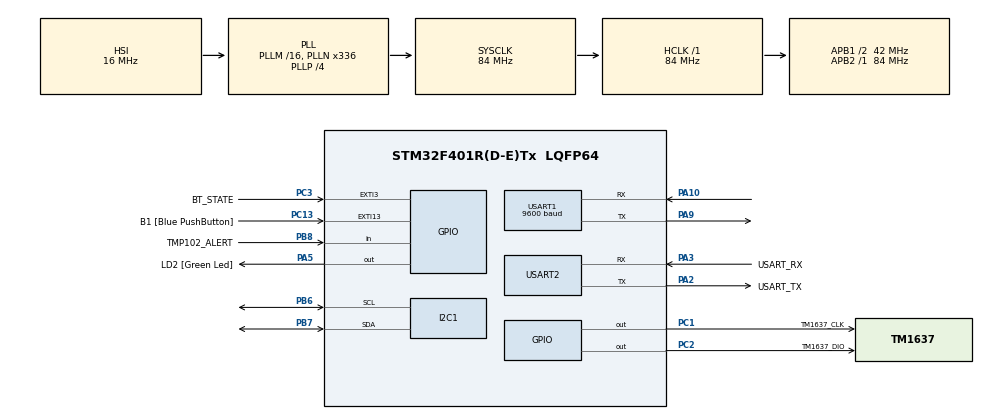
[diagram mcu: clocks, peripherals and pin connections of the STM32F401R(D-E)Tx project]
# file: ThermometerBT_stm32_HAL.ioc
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Dma.Request0=USART1_RX
Dma.USART1_RX.0.Direction=DMA_PERIPH_TO_MEMORY
Dma.USART1_RX.0.FIFOMode=DMA_FIFOMODE_DISABLE
Dma.USART1_RX.0.Instance=DMA2_Stream2
Dma.USART1_RX.0.MemDataAlignment=DMA_MDATAALIGN_BYTE
Dma.USART1_RX.0.MemInc=DMA_MINC_ENABLE
Dma.USART1_RX.0.Mode=DMA_NORMAL
Dma.USART1_RX.0.PeriphDataAlignment=DMA_PDATAALIGN_BYTE
Dma.USART1_RX.0.PeriphInc=DMA_PINC_DISABLE
Dma.USART1_RX.0.Priority=DMA_PRIORITY_LOW
Mcu.Family=STM32F4
Mcu.Name=STM32F401R(D-E)Tx
Mcu.Package=LQFP64
NVIC.DMA2_Stream2_IRQn=true\:0\:0\:false\:true\:true\:3\:false\:true
NVIC.EXTI3_IRQn=true\:0\:0\:false\:true\:true\:1\:true\:true
NVIC.PriorityGroup=NVIC_PRIORITYGROUP_0
NVIC.TIM1_UP_TIM10_IRQn=true\:0\:0\:false\:true\:true\:4\:true\:true
NVIC.USART1_IRQn=true\:0\:0\:false\:true\:true\:2\:true\:true
PA10.Mode=Asynchronous
PA10.Signal=USART1_RX
PA13.GPIO_Label=TMS
PA13.Mode=Serial_Wire
PA13.Signal=SYS_JTMS-SWDIO
PA14.GPIO_Label=TCK
PA14.Mode=Serial_Wire
PA14.Signal=SYS_JTCK-SWCLK
PA2.GPIO_Label=USART_TX
PA2.GPIO_Mode=GPIO_MODE_AF_PP
PA2.GPIO_PuPd=GPIO_NOPULL
PA2.GPIO_Speed=GPIO_SPEED_FREQ_LOW
PA2.Mode=Asynchronous
PA2.Signal=USART2_TX
PA3.GPIO_Label=USART_RX
PA3.GPIO_Mode=GPIO_MODE_AF_PP
PA3.GPIO_PuPd=GPIO_NOPULL
PA3.GPIO_Speed=GPIO_SPEED_FREQ_LOW
PA3.Mode=Asynchronous
PA3.Signal=USART2_RX
PA5.GPIO_Label=LD2 [Green Led]
PA5.GPIO_Mode=GPIO_MODE_OUTPUT_PP
PA5.GPIO_PuPd=GPIO_NOPULL
PA5.GPIO_Speed=GPIO_SPEED_FREQ_LOW
PA5.Signal=GPIO_Output
PA9.Mode=Asynchronous
PA9.Signal=USART1_TX
PB3.GPIO_Label=SWO
PB3.Signal=SYS_JTDO-SWO
PB6.Mode=I2C
PB6.Signal=I2C1_SCL
PB7.Mode=I2C
PB7.Signal=I2C1_SDA
PB8.GPIO_Label=TMP102_ALERT
PB8.Signal=GPIO_Input
PC1.GPIO_Label=TM1637_CLK
PC1.GPIO_PuPd=GPIO_PULLUP
PC1.GPIO_Speed=GPIO_SPEED_FREQ_VERY_HIGH
PC1.Signal=GPIO_Output
PC13-ANTI_TAMP.GPIO_Label=B1 [Blue PushButton]
PC13-ANTI_TAMP.GPIO_ModeDefaultEXTI=GPIO_MODE_IT_FALLING
PC13-ANTI_TAMP.GPIO_PuPd=GPIO_NOPULL
PC13-ANTI_TAMP.Signal=GPXTI13
PC14-OSC32_IN.Mode=LSE-External-Oscillator
PC14-OSC32_IN.Signal=RCC_OSC32_IN
PC15-OSC32_OUT.Mode=LSE-External-Oscillator
PC15-OSC32_OUT.Signal=RCC_OSC32_OUT
PC2.GPIO_Label=TM1637_DIO
PC2.GPIO_PuPd=GPIO_PULLUP
PC2.GPIO_Speed=GPIO_SPEED_FREQ_VERY_HIGH
PC2.Signal=GPIO_Output
PC3.GPIO_Label=BT_STATE
PC3.GPIO_ModeDefaultEXTI=GPIO_MODE_IT_RISING_FALLING
PC3.Signal=GPXTI3
PH0\ -\ OSC_IN.Mode=HSE-External-Clock-Source
PH0\ -\ OSC_IN.Signal=RCC_OSC_IN
PH1\ -\ OSC_OUT.Mode=HSE-External-Clock-Source
PH1\ -\ OSC_OUT.Signal=RCC_OSC_OUT
ProjectManager.HeapSize=0x200
ProjectManager.StackSize=0x400
ProjectManager.TargetToolchain=STM32CubeIDE
RCC.48MHZClocksFreq_Value=48000000
RCC.AHBFreq_Value=84000000
RCC.APB1CLKDivider=RCC_HCLK_DIV2
RCC.APB1Freq_Value=42000000
RCC.APB1TimFreq_Value=84000000
RCC.APB2Freq_Value=84000000
RCC.APB2TimFreq_Value=84000000
RCC.CortexFreq_Value=84000000
RCC.HCLKFreq_Value=84000000
RCC.HSE_VALUE=8000000
RCC.HSI_VALUE=16000000
RCC.PLLN=336
RCC.PLLP=RCC_PLLP_DIV4
RCC.PLLQ=7
RCC.SYSCLKFreq_VALUE=84000000
RCC.SYSCLKSource=RCC_SYSCLKSOURCE_PLLCLK
RCC.VCOOutputFreq_Value=336000000
TIM1.Channel-Output\ Compare1\ No\ Output=TIM_CHANNEL_1
TIM1.Period=1000
TIM1.Prescaler=8399
TIM1.TIM_MasterOutputTrigger=TIM_TRGO_UPDATE
USART1.BaudRate=9600
USART1.VirtualMode=VM_ASYNC
USART2.VirtualMode=VM_ASYNC
VP_TIM1_VS_ClockSourceINT.Mode=Internal
VP_TIM1_VS_no_output1.Mode=Output Compare1 No Output
board=NUCLEO-F401RE

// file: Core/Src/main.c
/* USER CODE BEGIN Header */
/**
 ******************************************************************************
 * @file           : main.c
 * @brief          : Main program body
 ******************************************************************************
 * @attention
 *
 * <h2><center>&copy; Copyright (c) 2021 STMicroelectronics.
 * All rights reserved.</center></h2>
 *
 * This software component is licensed by ST under BSD 3-Clause license,
 * the "License"; You may not use this file except in compliance with the
 * License. You may obtain a copy of the License at:
 *                        opensource.org/licenses/BSD-3-Clause
 *
 ******************************************************************************
 */
/* USER CODE END Header */
#include "main.h"
#include "dma.h"
#include "i2c.h"
#include "tim.h"
#include "usart.h"
#include "gpio.h"

/* USER CODE BEGIN Includes */
#include "ringbuffer.h"
#include "parse.h"
#include "string.h"
#include "JDY-09.h"
#include "utils.h"
#include "tmp102.h"
#include "stm32_tm1637.h"
/* USER CODE END Includes */

/* USER CODE BEGIN PV */
uint8_t TransferBuffer[64];
uint8_t ParseStatus;
JDY09_t JDY09_1;
TMP102_t TMP102_1;
uint8_t temperaturevalue[2];
volatile uint32_t TimerCount10ms;
/* USER CODE END PV */

void SystemClock_Config(void);
static void MX_NVIC_Init(void);

int main(void)
{

  /* MCU Configuration--------------------------------------------------------*/

  /* Reset of all peripherals, Initializes the Flash interface and the Systick. */
  HAL_Init();

  /* Configure the system clock */
  SystemClock_Config();

  /* Initialize all configured peripherals */
  MX_GPIO_Init();
  MX_USART2_UART_Init();
  MX_DMA_Init();
  MX_USART1_UART_Init();
  MX_I2C1_Init();
  MX_TIM1_Init();

  /* Initialize interrupts */
  MX_NVIC_Init();
  /* USER CODE BEGIN 2 */
	I2CScan(&hi2c1);
	JDY09_Init(&JDY09_1, &huart1, BT_STATE_GPIO_Port, BT_STATE_Pin);
	TMP102Init(&TMP102_1, &hi2c1, TMP102_ADDRESS);
	tm1637Init();

  /* USER CODE END 2 */

  /* Infinite loop */
  /* USER CODE BEGIN WHILE */
	while (1)
	{
		// check if there is msg - if yes transfer it to a buffer
		if (JDY09_CheckPendingMessages(&JDY09_1, TransferBuffer) == JDY09_MESSAGEPENDING)
		{
			//clear pending flag
			JDY09_ClearMsgPendingFlag(&JDY09_1);

			//parse msg
			ParseStatus = Parser_Parse(TransferBuffer, &TMP102_1);
		}

		//every 1 second make a display (delay 10ms)
		if(TimerCount10ms % 10 == 1)
		{
			tm1637DisplayFloat(TMP102GetTempFloat(&TMP102_1));
		}

		// after one minute stop timer
		if(TimerCount10ms > (10 * 60) +1)
		{
			// turn off timer
			HAL_TIM_Base_Stop_IT(&htim1);
			// turn of mosfet power to display
			// reset timer
			TimerCount10ms = 0;
		}

    /* USER CODE END WHILE */

	}
}

void SystemClock_Config(void)
{
  RCC_OscInitTypeDef RCC_OscInitStruct = {0};
  RCC_ClkInitTypeDef RCC_ClkInitStruct = {0};

  /** Configure the main internal regulator output voltage
  */
  __HAL_RCC_PWR_CLK_ENABLE();
  __HAL_PWR_VOLTAGESCALING_CONFIG(PWR_REGULATOR_VOLTAGE_SCALE2);
  /** Initializes the RCC Oscillators according to the specified parameters
  * in the RCC_OscInitTypeDef structure.
  */
  RCC_OscInitStruct.OscillatorType = RCC_OSCILLATORTYPE_HSI;
  RCC_OscInitStruct.HSIState = RCC_HSI_ON;
  RCC_OscInitStruct.HSICalibrationValue = RCC_HSICALIBRATION_DEFAULT;
  RCC_OscInitStruct.PLL.PLLState = RCC_PLL_ON;
  RCC_OscInitStruct.PLL.PLLSource = RCC_PLLSOURCE_HSI;
  RCC_OscInitStruct.PLL.PLLM = 16;
  RCC_OscInitStruct.PLL.PLLN = 336;
  RCC_OscInitStruct.PLL.PLLP = RCC_PLLP_DIV4;
  RCC_OscInitStruct.PLL.PLLQ = 7;
  if (HAL_RCC_OscConfig(&RCC_OscInitStruct) != HAL_OK)
  {
    Error_Handler();
  }
  /** Initializes the CPU, AHB and APB buses clocks
  */
  RCC_ClkInitStruct.ClockType = RCC_CLOCKTYPE_HCLK|RCC_CLOCKTYPE_SYSCLK
                              |RCC_CLOCKTYPE_PCLK1|RCC_CLOCKTYPE_PCLK2;
  RCC_ClkInitStruct.SYSCLKSource = RCC_SYSCLKSOURCE_PLLCLK;
  RCC_ClkInitStruct.AHBCLKDivider = RCC_SYSCLK_DIV1;
  RCC_ClkInitStruct.APB1CLKDivider = RCC_HCLK_DIV2;
  RCC_ClkInitStruct.APB2CLKDivider = RCC_HCLK_DIV1;

  if (HAL_RCC_ClockConfig(&RCC_ClkInitStruct, FLASH_LATENCY_2) != HAL_OK)
  {
    Error_Handler();
  }
}

/**
  * @brief NVIC Configuration.
  * @retval None
  */
static void MX_NVIC_Init(void)
{
  /* EXTI3_IRQn interrupt configuration */
  HAL_NVIC_SetPriority(EXTI3_IRQn, 0, 0);
  HAL_NVIC_EnableIRQ(EXTI3_IRQn);
  /* USART1_IRQn interrupt configuration */
  HAL_NVIC_SetPriority(USART1_IRQn, 0, 0);
  HAL_NVIC_EnableIRQ(USART1_IRQn);
  /* DMA2_Stream2_IRQn interrupt configuration */
  HAL_NVIC_SetPriority(DMA2_Stream2_IRQn, 0, 0);
  HAL_NVIC_EnableIRQ(DMA2_Stream2_IRQn);
  /* TIM1_UP_TIM10_IRQn interrupt configuration */
  HAL_NVIC_SetPriority(TIM1_UP_TIM10_IRQn, 0, 0);
  HAL_NVIC_EnableIRQ(TIM1_UP_TIM10_IRQn);
}

/* USER CODE BEGIN 4 */
#if (JDY09_UART_RX_IT == 1)
void HAL_UART_RxCpltCallback(UART_HandleTypeDef *huart)
{

	// Callback from BT module
	JDY09_RxCpltCallbackIT(&JDY09_1, huart);
}
#endif

#if (JDY09_UART_RX_DMA == 1)
void HAL_UARTEx_RxEventCallback(UART_HandleTypeDef *huart, uint16_t Size)
{
	// Callback from BT module
	JDY09_RxCpltCallbackDMA(&JDY09_1, huart, Size);
}
#endif

void HAL_GPIO_EXTI_Callback(uint16_t GPIO_Pin)
{
	// Callback from EXTI
	JDY09_EXTICallback(&JDY09_1, GPIO_Pin);
}

void HAL_TIM_PeriodElapsedCallback(TIM_HandleTypeDef *htim)
{
	if(htim->Instance == TIM1)
	{
		TimerCount10ms++;
	}
}
/* USER CODE END 4 */

void Error_Handler(void)
{
	__disable_irq();
	while (1)
	{
	}
}

/************************ (C) COPYRIGHT STMicroelectronics *****END OF FILE****/
